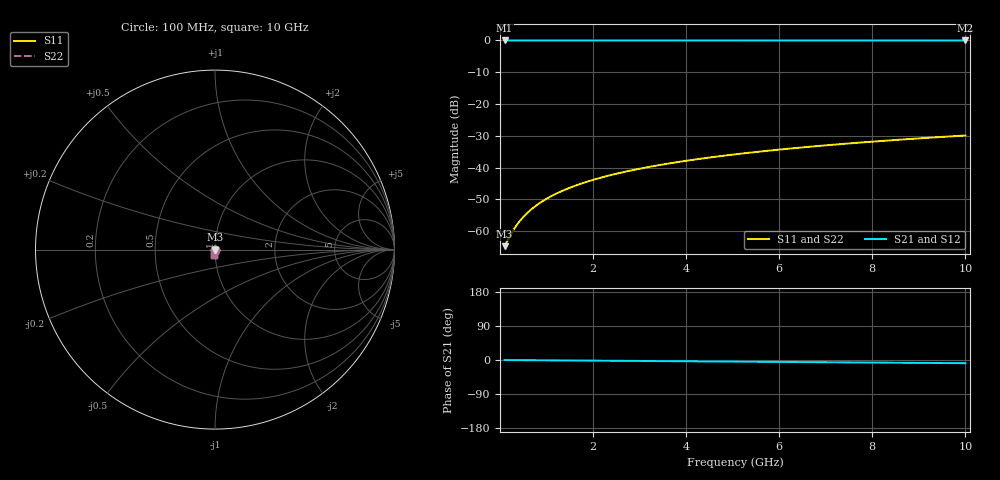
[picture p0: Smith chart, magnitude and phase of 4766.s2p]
# Hz S RI R 50.00
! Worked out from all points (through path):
!   100 points, 100 MHz to 10 GHz, reference 50 ohm
!   highest |S21| = 0.00 dB at 100 MHz (marker M1); lowest = 0.0 dB at 10 GHz (marker M2)
!   group delay of S21, straight-line fit = 2.34 ps
!   lowest |S11| = -64.7 dB at 100 MHz (marker M3), VSWR 1.00, Z = 50 - j0.032 ohm
!   |S11| at or under -10 dB: start of sweep to end of sweep
!   |S22| runs from -64.7 to -29.9 dB; largest |S21 - S12| = 0
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1e8  0.000484 -0.00032  0.9995 -0.00147  0.9995 -0.00147  0.000484 -0.00032
2e8  0.000485 -0.000639  0.9995 -0.00293  0.9995 -0.00293  0.000485 -0.000639
3e8  0.000484 -0.000959  0.9995 -0.0044  0.9995 -0.0044  0.000484 -0.000959
4e8  0.000482 -0.00128  0.9995 -0.00587  0.9995 -0.00587  0.000482 -0.00128
5e8  0.000478 -0.0016  0.9995 -0.00734  0.9995 -0.00734  0.000478 -0.0016
6e8  0.000474 -0.00192  0.9995 -0.0088  0.9995 -0.0088  0.000474 -0.00192
7e8  0.000468 -0.00224  0.9994 -0.0103  0.9994 -0.0103  0.000468 -0.00224
9e8  0.000454 -0.00288  0.9994 -0.0132  0.9994 -0.0132  0.000454 -0.00288
1e9  0.000446 -0.0032  0.9994 -0.0147  0.9994 -0.0147  0.000446 -0.0032
1.2e9  0.000425 -0.00383  0.9993 -0.0176  0.9993 -0.0176  0.000425 -0.00383
1.5e9  0.000388 -0.00479  0.9992 -0.022  0.9992 -0.022  0.000388 -0.00479
1.8e9  0.000341 -0.00575  0.9991 -0.0264  0.9991 -0.0264  0.000341 -0.00575
2.1e9  0.000286 -0.00671  0.999 -0.0308  0.999 -0.0308  0.000286 -0.00671
2.5e9  0.000199 -0.00799  0.9988 -0.0367  0.9988 -0.0367  0.000199 -0.00799
2.9e9  9.76e-05 -0.00927  0.9985 -0.0426  0.9985 -0.0426  9.76e-05 -0.00927
3.4e9  -5.11e-05 -0.0109  0.9981 -0.0499  0.9981 -0.0499  -5.11e-05 -0.0109
4.2e9  -0.000338 -0.0134  0.9974 -0.0616  0.9974 -0.0616  -0.000338 -0.0134
5.1e9  -0.000733 -0.0163  0.9965 -0.0748  0.9965 -0.0748  -0.000733 -0.0163
5.9e9  -0.00115 -0.0188  0.9955 -0.0866  0.9955 -0.0866  -0.00115 -0.0188
6.7e9  -0.00162 -0.0213  0.9943 -0.0983  0.9943 -0.0983  -0.00162 -0.0213
8.4e9  -0.00283 -0.0267  0.9914 -0.1232  0.9914 -0.1232  -0.00283 -0.0267
1e10  -0.00421 -0.0317  0.988 -0.1465  0.988 -0.1465  -0.00421 -0.0317
